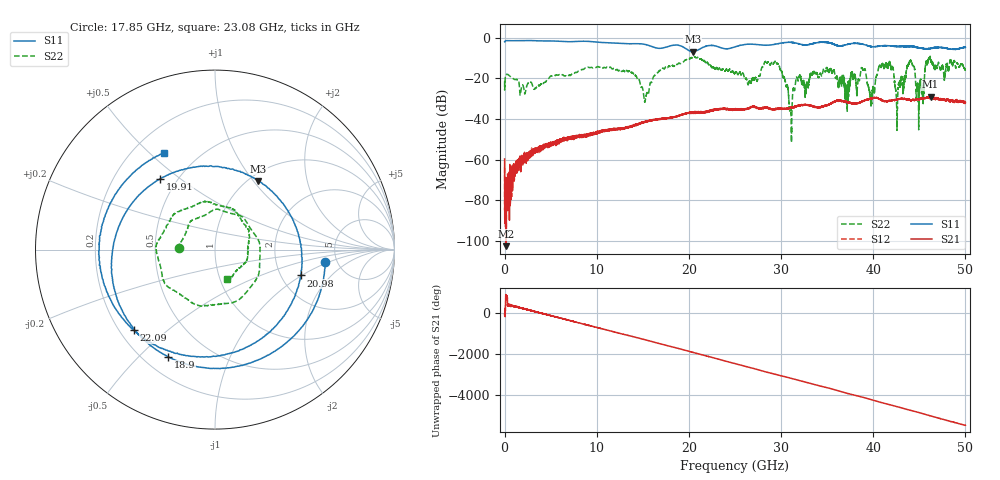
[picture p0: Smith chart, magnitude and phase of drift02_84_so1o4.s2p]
!Created with skrf (http://scikit-rf.org).
# Hz S RI R 50.0
!freq ReS11 ImS11 ReS21 ImS21 ReS12 ImS12 ReS22 ImS22
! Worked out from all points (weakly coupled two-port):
!   10001 points, 300 kHz to 50 GHz, reference 50 ohm
!   highest |S21| = -28.99 dB at 46.22 GHz (marker M1); lowest = -102.6 dB at 145.3 MHz (marker M2)
!   lowest |S11| = -6.9 dB at 20.41 GHz (marker M3), VSWR 2.65, Z = 55.1 + j52.9 ohm
!   |S11| at or under -10 dB: nowhere
!   |S22| runs from -51.5 to -9.1 dB; largest |S21 - S12| = 0.0033
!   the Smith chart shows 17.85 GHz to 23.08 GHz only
!   S11 on the Smith chart (normalised r, x): 17.85 GHz: 4.00, -0.91; 18.9 GHz: 0.29, -0.61; 19.91 GHz: 0.40, +0.43; 20.98 GHz: 2.56, -0.99; 22.09 GHz: 0.26, -0.39; 23.08 GHz: 0.32, +0.56
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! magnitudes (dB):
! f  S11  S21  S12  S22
! 300 kHz  -2.0  -59.6  -63.8  -21.5
! 145.3 MHz  -1.5  -102.6  -73.5  -18.3
! 8.335 GHz  -1.7  -48.7  -48.3  -15.7
! 15.33 GHz  -3.4  -41.4  -41.3  -29.2
! 16.67 GHz  -5.2  -39.9  -40.1  -17.0
! 17.85 GHz  -4.2  -39.4  -39.3  -13.9
! 18.9 GHz  -3.7  -38.4  -38.4  -12.5
! 19.91 GHz  -6.0  -37.1  -36.9  -10.1
! 20.41 GHz  -6.9  -36.9  -36.8  -10.0
! 20.98 GHz  -6.0  -36.7  -36.9  -9.7
! 22.09 GHz  -3.9  -36.3  -36.4  -12.7
! 23.08 GHz  -4.3  -35.3  -35.3  -14.9
! 25 GHz  -4.5  -35.2  -35.4  -17.5
! 29.52 GHz  -3.1  -34.8  -35.2  -12.6
! 31.03 GHz  -2.2  -34.3  -34.6  -35.8
! 33.34 GHz  -3.0  -33.6  -33.4  -17.8
! 39.88 GHz  -4.4  -29.8  -29.7  -27.8
! 41.67 GHz  -3.9  -31.1  -31.0  -13.3
! 44.18 GHz  -4.2  -30.8  -30.7  -12.2
! 44.85 GHz  -4.8  -30.1  -30.2  -25.6
! 46.22 GHz  -5.2  -29.0  -29.2  -10.5
! 50 GHz  -4.7  -31.9  -31.8  -16.0
